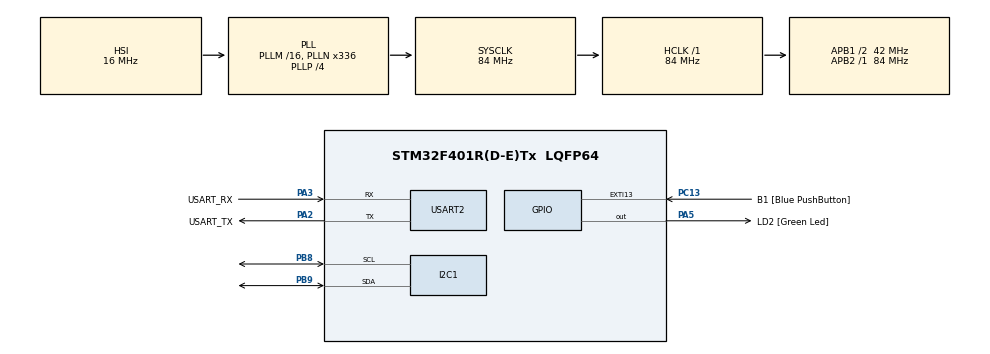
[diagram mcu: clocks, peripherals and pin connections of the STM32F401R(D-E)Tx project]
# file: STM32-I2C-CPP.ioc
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Mcu.Family=STM32F4
Mcu.Name=STM32F401R(D-E)Tx
Mcu.Package=LQFP64
NVIC.PriorityGroup=NVIC_PRIORITYGROUP_0
NVIC.TIM1_TRG_COM_TIM11_IRQn=true\:0\:0\:false\:false\:true\:true\:true
PA13.GPIO_Label=TMS
PA13.Mode=Serial_Wire
PA13.Signal=SYS_JTMS-SWDIO
PA14.GPIO_Label=TCK
PA14.Mode=Serial_Wire
PA14.Signal=SYS_JTCK-SWCLK
PA2.GPIO_Label=USART_TX
PA2.GPIO_Mode=GPIO_MODE_AF_PP
PA2.GPIO_PuPd=GPIO_NOPULL
PA2.GPIO_Speed=GPIO_SPEED_FREQ_LOW
PA2.Mode=Asynchronous
PA2.Signal=USART2_TX
PA3.GPIO_Label=USART_RX
PA3.GPIO_Mode=GPIO_MODE_AF_PP
PA3.GPIO_PuPd=GPIO_NOPULL
PA3.GPIO_Speed=GPIO_SPEED_FREQ_LOW
PA3.Mode=Asynchronous
PA3.Signal=USART2_RX
PA5.GPIO_Label=LD2 [Green Led]
PA5.GPIO_Mode=GPIO_MODE_OUTPUT_PP
PA5.GPIO_PuPd=GPIO_NOPULL
PA5.GPIO_Speed=GPIO_SPEED_FREQ_LOW
PA5.Signal=GPIO_Output
PB3.GPIO_Label=SWO
PB3.Signal=SYS_JTDO-SWO
PB8.Mode=I2C
PB8.Signal=I2C1_SCL
PB9.Mode=I2C
PB9.Signal=I2C1_SDA
PC13-ANTI_TAMP.GPIO_Label=B1 [Blue PushButton]
PC13-ANTI_TAMP.GPIO_ModeDefaultEXTI=GPIO_MODE_IT_FALLING
PC13-ANTI_TAMP.GPIO_PuPd=GPIO_NOPULL
PC13-ANTI_TAMP.Signal=GPXTI13
PC14-OSC32_IN.Mode=LSE-External-Oscillator
PC14-OSC32_IN.Signal=RCC_OSC32_IN
PC15-OSC32_OUT.Mode=LSE-External-Oscillator
PC15-OSC32_OUT.Signal=RCC_OSC32_OUT
PH0\ -\ OSC_IN.Mode=HSE-External-Clock-Source
PH0\ -\ OSC_IN.Signal=RCC_OSC_IN
PH1\ -\ OSC_OUT.Mode=HSE-External-Clock-Source
PH1\ -\ OSC_OUT.Signal=RCC_OSC_OUT
ProjectManager.HeapSize=0x200
ProjectManager.StackSize=0x400
ProjectManager.TargetToolchain=STM32CubeIDE
RCC.48MHZClocksFreq_Value=48000000
RCC.AHBFreq_Value=84000000
RCC.APB1CLKDivider=RCC_HCLK_DIV2
RCC.APB1Freq_Value=42000000
RCC.APB1TimFreq_Value=84000000
RCC.APB2Freq_Value=84000000
RCC.APB2TimFreq_Value=84000000
RCC.CortexFreq_Value=84000000
RCC.HCLKFreq_Value=84000000
RCC.HSE_VALUE=8000000
RCC.HSI_VALUE=16000000
RCC.PLLN=336
RCC.PLLP=RCC_PLLP_DIV4
RCC.PLLQ=7
RCC.SYSCLKFreq_VALUE=84000000
RCC.SYSCLKSource=RCC_SYSCLKSOURCE_PLLCLK
RCC.VCOOutputFreq_Value=336000000
TIM11.Period=40-1
TIM11.Prescaler=8400-1
USART2.VirtualMode=VM_ASYNC
VP_TIM11_VS_ClockSourceINT.Mode=Enable_Timer
board=NUCLEO-F401RE

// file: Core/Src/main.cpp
/* USER CODE BEGIN Header */
/**
  ******************************************************************************
  * @file           : main.c
  * @brief          : Main program body
  ******************************************************************************
  * @attention
  *
  * Copyright (c) 2022 STMicroelectronics.
  * All rights reserved.
  *
  * This software is licensed under terms that can be found in the LICENSE file
  * in the root directory of this software component.
  * If no LICENSE file comes with this software, it is provided AS-IS.
  *
  ******************************************************************************
  */
/* USER CODE END Header */
#include "main.h"
#include "i2c.h"
#include "tim.h"
#include "usart.h"
#include "gpio.h"

/* USER CODE BEGIN Includes */
#include "MPUXX50.h"
#include "string.h"
#include "stdio.h"

/* USER CODE END Includes */

/* USER CODE BEGIN PTD */
#define TRUE  1
#define FALSE 0
/* USER CODE END PTD */

/* USER CODE BEGIN PV */
uint8_t serialBuf[100];
Attitude attitude;
/* USER CODE END PV */

void SystemClock_Config(void);

/* USER CODE BEGIN 0 */
MPUXX50 imu(&hi2c1, AD0_LOW);
/* USER CODE END 0 */

int main(void)
{

  /* MCU Configuration--------------------------------------------------------*/

  /* Reset of all peripherals, Initializes the Flash interface and the Systick. */
  HAL_Init();

  /* Configure the system clock */
  SystemClock_Config();

  /* Initialize all configured peripherals */
  MX_GPIO_Init();
  MX_USART2_UART_Init();
  MX_I2C1_Init();
  MX_TIM11_Init();
  /* USER CODE BEGIN 2 */
  // Configure IMU
  imu.setGyroFullScaleRange(GFSR_500DPS);
  imu.setAccFullScaleRange(AFSR_4G);
  imu.setDeltaTime(0.004);
  imu.setTau(0.98);

  // Check if IMU configured properly and block if it didn't
  if (imu.begin() != TRUE)
  {
    sprintf((char *)serialBuf, "ERROR!\r\n");
    HAL_UART_Transmit(&huart2, serialBuf, strlen((char *)serialBuf), HAL_MAX_DELAY);
    while (1){}
  }

  // Calibrate the IMU
  sprintf((char *)serialBuf, "CALIBRATING...\r\n");
  HAL_UART_Transmit(&huart2, serialBuf, strlen((char *)serialBuf), HAL_MAX_DELAY);
  imu.calibrateGyro(1500);

  // Start timer and put processor into an efficient low power mode
  HAL_TIM_Base_Start_IT(&htim11);
  HAL_PWR_EnableSleepOnExit();
  HAL_PWR_EnterSLEEPMode(PWR_MAINREGULATOR_ON, PWR_SLEEPENTRY_WFI);
  /* USER CODE END 2 */

  /* Infinite loop */
  /* USER CODE BEGIN WHILE */
  // while (1)
  // {
  //   /* USER CODE END WHILE */
  //   /* USER CODE BEGIN 3 */
  // }
  // /* USER CODE END 3 */
}

void SystemClock_Config(void)
{
  RCC_OscInitTypeDef RCC_OscInitStruct = {0};
  RCC_ClkInitTypeDef RCC_ClkInitStruct = {0};

  /** Configure the main internal regulator output voltage
  */
  __HAL_RCC_PWR_CLK_ENABLE();
  __HAL_PWR_VOLTAGESCALING_CONFIG(PWR_REGULATOR_VOLTAGE_SCALE2);
  /** Initializes the RCC Oscillators according to the specified parameters
  * in the RCC_OscInitTypeDef structure.
  */
  RCC_OscInitStruct.OscillatorType = RCC_OSCILLATORTYPE_HSI;
  RCC_OscInitStruct.HSIState = RCC_HSI_ON;
  RCC_OscInitStruct.HSICalibrationValue = RCC_HSICALIBRATION_DEFAULT;
  RCC_OscInitStruct.PLL.PLLState = RCC_PLL_ON;
  RCC_OscInitStruct.PLL.PLLSource = RCC_PLLSOURCE_HSI;
  RCC_OscInitStruct.PLL.PLLM = 16;
  RCC_OscInitStruct.PLL.PLLN = 336;
  RCC_OscInitStruct.PLL.PLLP = RCC_PLLP_DIV4;
  RCC_OscInitStruct.PLL.PLLQ = 7;
  if (HAL_RCC_OscConfig(&RCC_OscInitStruct) != HAL_OK)
  {
    Error_Handler();
  }
  /** Initializes the CPU, AHB and APB buses clocks
  */
  RCC_ClkInitStruct.ClockType = RCC_CLOCKTYPE_HCLK|RCC_CLOCKTYPE_SYSCLK
                              |RCC_CLOCKTYPE_PCLK1|RCC_CLOCKTYPE_PCLK2;
  RCC_ClkInitStruct.SYSCLKSource = RCC_SYSCLKSOURCE_PLLCLK;
  RCC_ClkInitStruct.AHBCLKDivider = RCC_SYSCLK_DIV1;
  RCC_ClkInitStruct.APB1CLKDivider = RCC_HCLK_DIV2;
  RCC_ClkInitStruct.APB2CLKDivider = RCC_HCLK_DIV1;

  if (HAL_RCC_ClockConfig(&RCC_ClkInitStruct, FLASH_LATENCY_2) != HAL_OK)
  {
    Error_Handler();
  }
}

/* USER CODE BEGIN 4 */
void HAL_TIM_PeriodElapsedCallback(TIM_HandleTypeDef *htim)
{
  // Callback, timer has rolled over
  if (htim == &htim11)
  {
    HAL_ResumeTick();

    attitude = imu.calcAttitude();
    sprintf((char *)serialBuf, "%.1f,%.1f,%.1f\r\n", attitude.r, attitude.p, attitude.y);
    HAL_UART_Transmit(&huart2, serialBuf, strlen((char *)serialBuf), HAL_MAX_DELAY);

    HAL_SuspendTick();
  }
}
/* USER CODE END 4 */

void Error_Handler(void)
{
  __disable_irq();
  while (1)
  {
  }
}
